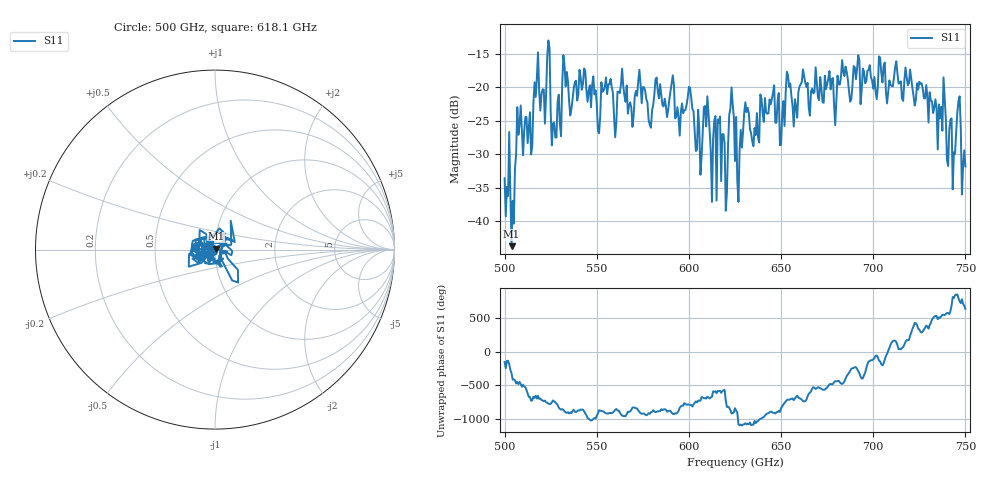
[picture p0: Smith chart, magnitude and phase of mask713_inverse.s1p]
!Created with skrf (http://scikit-rf.org).
# GHz S MA R 50.0
!freq magS11 angS11
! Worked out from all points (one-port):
!   401 points, 500 GHz to 750 GHz, reference 50 ohm
!   lowest |S11| = -43.7 dB at 503.8 GHz (marker M1), VSWR 1.01, Z = 50.5 + j0.432 ohm
!   |S11| at or under -10 dB: start of sweep to end of sweep
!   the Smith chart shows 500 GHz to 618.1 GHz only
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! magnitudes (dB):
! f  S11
! 500 GHz  -33.6
! 503.8 GHz  -43.7
! 507.5 GHz  -27.1
! 513.8 GHz  -23.7
! 517.5 GHz  -18.6
! 523.8 GHz  -13.0
! 526.9 GHz  -25.3
! 531.2 GHz  -19.5
! 562.5 GHz  -20.8
! 579.4 GHz  -26.0
! 590.6 GHz  -19.4
! 593.8 GHz  -23.0
! 600.6 GHz  -20.1
! 605.6 GHz  -26.1
! 609.4 GHz  -25.8
! 620 GHz  -38.4
! 623.1 GHz  -20.0
! 625 GHz  -31.0
! 627.5 GHz  -29.4
! 631.2 GHz  -23.7
! 635 GHz  -28.8
! 656.2 GHz  -22.9
! 687.5 GHz  -22.1
! 718.8 GHz  -19.7
! 738.1 GHz  -18.5
! 743.8 GHz  -29.7
! 746.2 GHz  -22.0
! 750 GHz  -31.8
